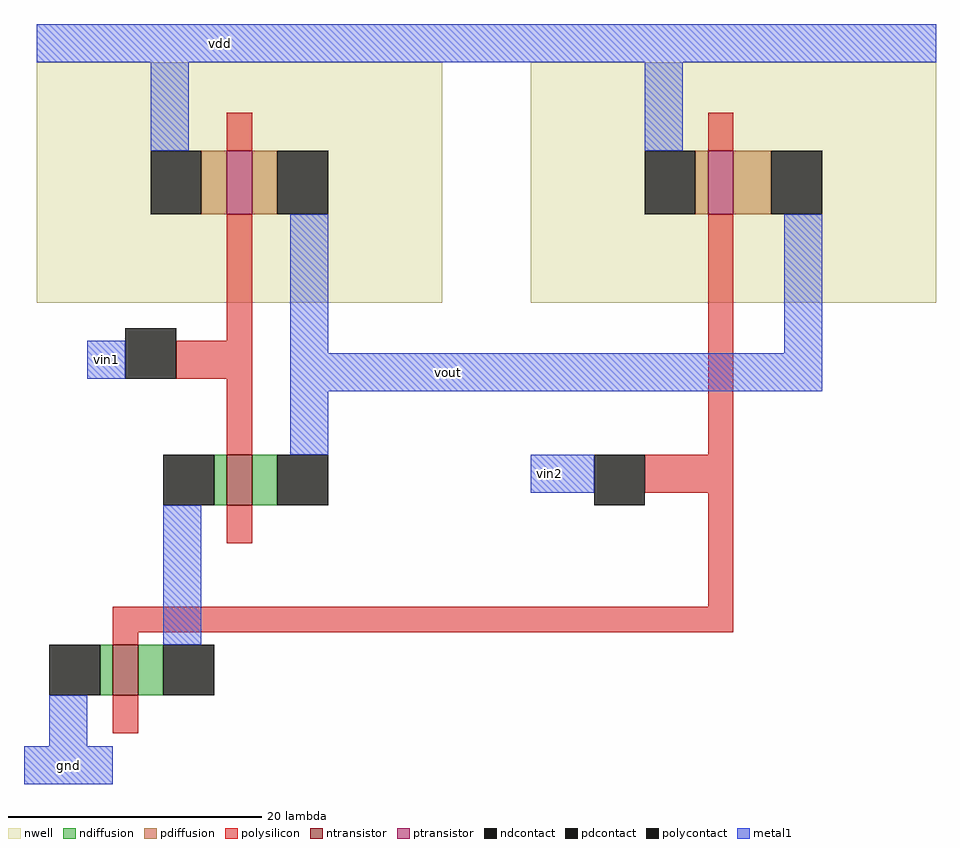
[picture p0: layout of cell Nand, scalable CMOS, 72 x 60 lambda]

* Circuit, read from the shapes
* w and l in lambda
.subckt Nand gnd vdd vin1 vin2 vout
M1 n1 vin2 gnd VSUBS nfet w=4 l=2
M2 vout vin1 n1 VSUBS nfet w=4 l=2
M3 vout vin1 vdd n2 pfet w=5 l=2
M4 vout vin2 vdd n3 pfet w=5 l=2
.ends

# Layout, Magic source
magic
tech scmos
<< nwell >>
rect -7 -3 25 16
rect 32 -3 64 16
<< ntransistor >>
rect 8 -19 10 -15
rect -1 -34 1 -30
<< ptransistor >>
rect 8 4 10 9
rect 46 4 48 9
<< ndiffusion >>
rect 7 -19 8 -15
rect 10 -19 12 -15
rect -2 -34 -1 -30
rect 1 -34 3 -30
<< pdiffusion >>
rect 6 4 8 9
rect 10 4 12 9
rect 45 4 46 9
rect 48 4 51 9
<< ndcontact >>
rect 3 -19 7 -15
rect 12 -19 16 -15
rect -6 -34 -2 -30
rect 3 -34 7 -30
<< pdcontact >>
rect 2 4 6 9
rect 12 4 16 9
rect 41 4 45 9
rect 51 4 55 9
<< polysilicon >>
rect 8 9 10 12
rect 46 9 48 12
rect 8 -6 10 4
rect 4 -9 10 -6
rect 8 -15 10 -9
rect 46 -15 48 4
rect 41 -18 48 -15
rect 8 -22 10 -19
rect 46 -27 48 -18
rect -1 -29 48 -27
rect -1 -30 1 -29
rect -1 -37 1 -34
<< polycontact >>
rect 0 -9 4 -5
rect 37 -19 41 -15
<< metal1 >>
rect -7 16 64 19
rect 2 9 5 16
rect 41 9 44 16
rect -3 -9 0 -6
rect 13 -7 16 4
rect 52 -7 55 4
rect 13 -10 55 -7
rect 13 -15 16 -10
rect 32 -18 37 -15
rect 3 -30 6 -19
rect -6 -38 -3 -34
rect -8 -41 -1 -38
<< labels >>
rlabel metal1 6 17 9 18 5 vdd
rlabel metal1 -2 -8 -1 -7 1 vin1
rlabel metal1 33 -17 34 -16 1 vin2
rlabel metal1 25 -9 26 -8 1 vout
rlabel metal1 -5 -40 -4 -39 1 gnd
<< end >>
